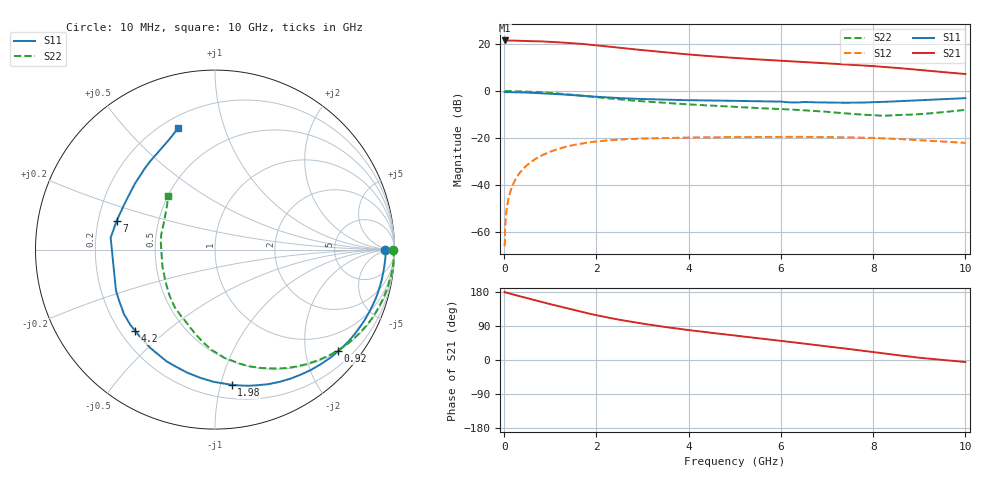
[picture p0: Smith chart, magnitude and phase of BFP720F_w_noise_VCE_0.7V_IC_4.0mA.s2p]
! (c) 2016  Infineon Technologies AG, Munich
! Infineon Technologies  Discrete & RF Semiconductors
! BFP720F
! VCE =  0.7 V,  IC =  4.0 mA
! Common Emitter S-Parameters:  Jan 2016
# GHz  S  MA  R  50
!  f  S11  S21  S12  S22
! GHz  MAG  ANG  MAG  ANG  MAG  ANG  MAG  ANG
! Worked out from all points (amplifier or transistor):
!   233 points, 10 MHz to 10 GHz, reference 50 ohm
!   highest |S21| = 21.5 dB at 10 MHz (marker M1)
!   |S21| within 3 dB of that: start of sweep to 2.453 GHz
!   unconditionally stable (mu >= 1): start of sweep to 10.34 MHz; 8.673 GHz to end of sweep
!   at 200 MHz: K = 0.03, MSG = 30.4 dB, |S12| = -39.4 dB
!   at 1.74 GHz: K = 0.19, MSG = 21.1 dB, |S12| = -22.1 dB
!   at 10 GHz: K = 1.16, MAG = 12.2 dB, |S12| = -22.0 dB
!   lowest NFmin = 0.41 dB at 450 MHz
!   S11 on the Smith chart (normalised r, x): 10 MHz: 39, -1; 920 MHz: 0.50, -2.70; 1.98 GHz: 0.31, -1.08; 4.2 GHz: 0.26, -0.40; 7 GHz: 0.28, +0.13; 10 GHz: 0.26, +0.71
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0.01  0.9495 -0.1  11.95 179.8  0.0005 -18.6  0.9906 -0.1
0.015  0.9504 -0.5  11.86 178.9  0.0006 67.9  0.995 -0.7
0.02  0.9513 -0.8  11.76 178.0  0.0012 92.5  0.9996 -1.3
0.055  0.9507 -2.4  11.92 177.8  0.0031 85.2  0.9964 -1.9
0.19  0.9457 -8.1  11.86 173.1  0.0102 84.9  0.9936 -6.3
0.52  0.9269 -22.2  11.62 162.6  0.0277 75.6  0.9727 -17.3
0.8  0.9031 -34.4  11.45 153.7  0.0419 67.6  0.9445 -26.6
0.92  0.8894 -39.6  11.29 149.9  0.0475 64.2  0.9276 -30.6
1.3  0.8444 -55.7  10.72 138.2  0.0638 53.7  0.867 -42.9
1.68  0.7949 -71.7  10.12 127.0  0.0765 43.9  0.7968 -54.5
1.98  0.7585 -83.0  9.489 118.7  0.0841 36.9  0.7444 -62.9
2.6  0.7025 -102.9  8.172 104.0  0.094 24.6  0.6517 -77.6
3  0.6788 -113.3  7.443 95.8  0.0978 18.5  0.6063 -84.9
3.4  0.6587 -121.3  6.801 88.8  0.0999 13.2  0.5681 -90.4
4.2  0.6348 -134.3  5.797 76.1  0.1029 4.2  0.5081 -99.1
5.1  0.618 -146.0  4.999 63.2  0.1051 -4.4  0.4555 -107.7
6  0.5975 -157.4  4.423 50.6  0.1061 -12.4  0.4154 -117.2
6.8  0.5744 167.6  3.995 39.0  0.1052 -19.7  0.3727 -130.2
7  0.5708 163.5  3.899 35.9  0.1048 -21.6  0.362 -134.1
8.4  0.5988 130.5  3.177 14.7  0.0971 -34.6  0.3033 173.7
9  0.6365 118.3  2.817 6.0  0.0901 -39.4  0.3228 151.8
10  0.7072 107.0  2.306 -5.3  0.079 -43.8  0.3981 130.9
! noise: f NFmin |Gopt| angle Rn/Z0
0.45  0.41  0.54  3  0.21
0.9  0.44  0.54  10  0.19
1.8  0.49  0.5  21  0.17
2.4  0.53  0.48  29  0.15
5.5  0.73  0.4  74  0.1
10  1.03  0.26  -115  0.14
